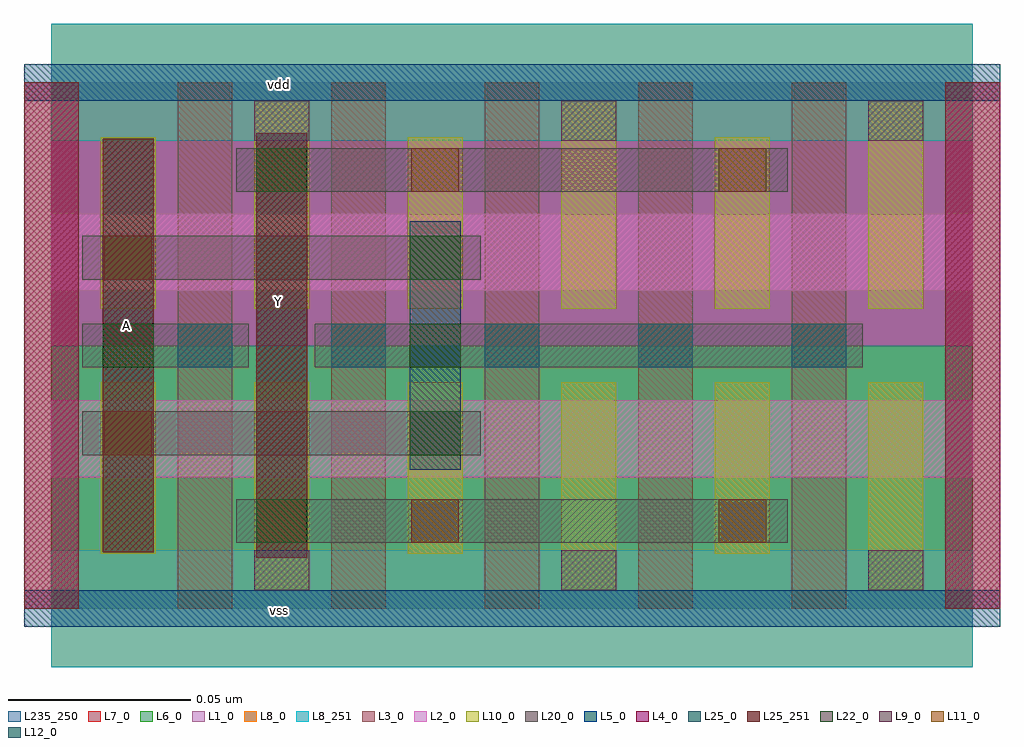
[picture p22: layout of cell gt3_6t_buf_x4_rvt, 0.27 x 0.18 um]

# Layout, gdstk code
import gdstk
lib = gdstk.Library(unit=1e-6, precision=5e-10)
def R(c, l, rs):  # rectangles x0, y0, x1, y1
    for r in rs: c.add(gdstk.rectangle(r[:2], r[2:], *l))
def A(c, l, x, y, w, h, nx, ny, dx, dy):  # array of equal rectangles
    R(c, l, [(x+i*dx, y+j*dy, x+i*dx+w, y+j*dy+h) for i in range(nx) for j in range(ny)])
L1_0 = (1, 0)
L2_0 = (2, 0)
L3_0 = (3, 0)
L4_0 = (4, 0)
L5_0 = (5, 0)
L6_0 = (6, 0)
L7_0 = (7, 0)
L8_0 = (8, 0)
L8_251 = (8, 251)
L9_0 = (9, 0)
L10_0 = (10, 0)
L11_0 = (11, 0)
L12_0 = (12, 0)
L20_0 = (20, 0)
L22_0 = (22, 0)
L25_0 = (25, 0)
L25_251 = (25, 251)
L235_250 = (235, 250)

gt3_6t_buf_x4_rvt = lib.new_cell('gt3_6t_buf_x4_rvt')
R(gt3_6t_buf_x4_rvt, L1_0, [(0,0.072,0.252,0.144)])
R(gt3_6t_buf_x4_rvt, L2_0, [(0,0.036,0.252,0.057), (0,0.087,0.252,0.108)])
A(gt3_6t_buf_x4_rvt, L3_0, -0.0075, 0, 0.015, 0.144, 7, 1, 0.042, 0)
R(gt3_6t_buf_x4_rvt, L4_0, [(-0.0075,0,0.0075,0.144), (0.2445,0,0.2595,0.144)])
R(gt3_6t_buf_x4_rvt, L5_0, [(-0.0075,-0.005,0.2595,0.005), (-0.0075,0.139,0.2595,0.149)])
R(gt3_6t_buf_x4_rvt, L6_0, [(0,0,0.252,0.072)])
R(gt3_6t_buf_x4_rvt, L7_0, [(0,0.072,0.252,0.144)])
R(gt3_6t_buf_x4_rvt, L8_0, [(0,-0.016,0.252,0.016), (0,0.128,0.252,0.16)])
R(gt3_6t_buf_x4_rvt, L8_251, [(0,-0.016,0.252,0.016), (0,0.128,0.252,0.16)])
A(gt3_6t_buf_x4_rvt, L9_0, 0.0555, 0.005, 0.015, 0.011, 3, 2, 0.084, 0.123)
A(gt3_6t_buf_x4_rvt, L10_0, 0.0555, 0.005, 0.015, 0.057, 3, 2, 0.084, 0.077)
A(gt3_6t_buf_x4_rvt, L10_0, 0.0135, 0.015, 0.015, 0.047, 3, 2, 0.084, 0.067)
R(gt3_6t_buf_x4_rvt, L11_0, [(0.0985,0.018,0.1115,0.03), (0.1825,0.018,0.1955,0.03), (0.0145,0.042,0.0275,0.054), (0.0145,0.09,0.0275,0.102), (0.0985,0.114,0.1115,0.126), (0.1825,0.114,0.1955,0.126)])
A(gt3_6t_buf_x4_rvt, L12_0, 0.0345, 0.066, 0.015, 0.012, 5, 1, 0.042, 0)
R(gt3_6t_buf_x4_rvt, L20_0, [(0.0505,0.018,0.2015,0.03), (0.0085,0.042,0.1175,0.054), (0.0085,0.066,0.054,0.078), (0.072,0.066,0.222,0.078), (0.0085,0.09,0.1175,0.102), (0.0505,0.114,0.2015,0.126)])
A(gt3_6t_buf_x4_rvt, L22_0, 0.098, 0.042, 0.014, 0.012, 1, 3, 0, 0.024)
R(gt3_6t_buf_x4_rvt, L22_0, [(0.056,0.018,0.07,0.03), (0.014,0.066,0.028,0.078), (0.056,0.114,0.07,0.126)])
R(gt3_6t_buf_x4_rvt, L25_0, [(0.056,0.014,0.07,0.13), (0.014,0.0155,0.028,0.1285), (0.098,0.038,0.112,0.106)])
R(gt3_6t_buf_x4_rvt, L25_251, [(0.056,0.014,0.07,0.13), (0.014,0.0155,0.028,0.1285)])
R(gt3_6t_buf_x4_rvt, L235_250, [(0,0,0.252,0.144)])
gt3_6t_buf_x4_rvt.add(gdstk.Label('vss', (0.0625,-0.0005), layer=8, texttype=251))
gt3_6t_buf_x4_rvt.add(gdstk.Label('vdd', (0.0625,0.1435), layer=8, texttype=251))
gt3_6t_buf_x4_rvt.add(gdstk.Label('A', (0.0205,0.0775), layer=25, texttype=251))
gt3_6t_buf_x4_rvt.add(gdstk.Label('Y', (0.062,0.084), layer=25, texttype=251))

lib.write_gds('gt3_6t_buf_x4_rvt.gds')
